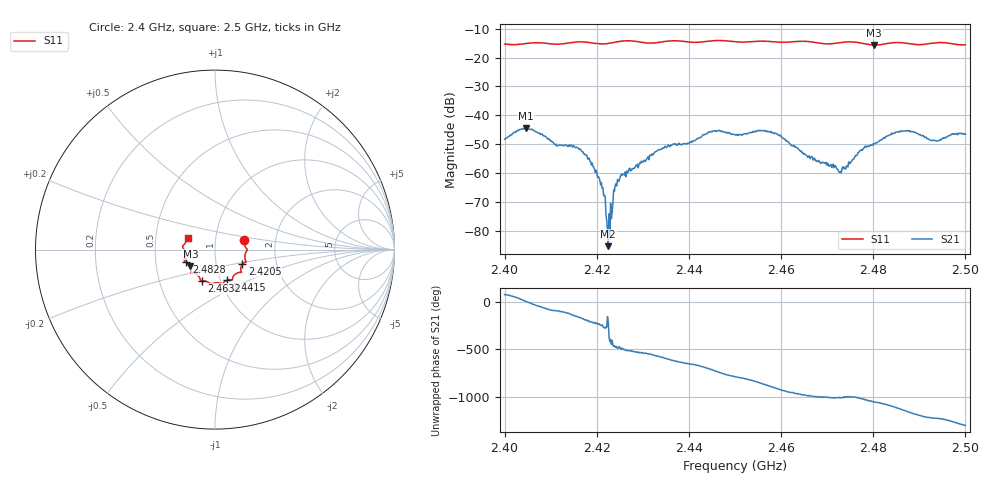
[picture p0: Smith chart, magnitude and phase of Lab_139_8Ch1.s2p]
# Hz S RI R 50
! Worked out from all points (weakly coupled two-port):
!   601 points, 2.4 GHz to 2.5 GHz, reference 50 ohm
!   highest |S21| = -44.46 dB at 2.4047 GHz (marker M1); lowest = -85.2 dB at 2.4225 GHz (marker M2)
!   lowest |S11| = -15.7 dB at 2.4802 GHz (marker M3), VSWR 1.39, Z = 37.4 - j6.97 ohm
!   |S11| at or under -10 dB: start of sweep to end of sweep
!   S12 and S22 are empty: the file has one direction only
!   S11 on the Smith chart (normalised r, x): 2.4 GHz: 1.38, +0.15; 2.4205 GHz: 1.34, -0.22; 2.4415 GHz: 1.07, -0.38; 2.4632 GHz: 0.82, -0.29; 2.4828 GHz: 0.72, -0.10; 2.5 GHz: 0.73, +0.10
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2.4e9  0.1632 0.0516  0.000598 0.00383  0 0  0 0
2.404667e9  0.1745 0.00622  0.00593 0.000805  0 0  0 0
2.416667e9  0.173 -0.0697  -0.00242 -0.000477  0 0  0 0
2.4205e9  0.152 -0.0815  -0.000578 0.000609  0 0  0 0
2.4225e9  0.1435 -0.1  -4.63e-05 2.94e-05  0 0  0 0
2.422833e9  0.1431 -0.1037  4.57e-05 -6.85e-05  0 0  0 0
2.424167e9  0.1444 -0.116  -0.000199 -0.000627  0 0  0 0
2.425e9  0.1464 -0.1217  -0.000501 -0.000658  0 0  0 0
2.433333e9  0.1006 -0.1516  -0.00216 0.00128  0 0  0 0
2.4415e9  0.0655 -0.1706  0.00214 0.00311  0 0  0 0
2.445333e9  0.0426 -0.1908  0.00536 0.00011  0 0  0 0
2.45e9  0.0243 -0.186  0.00177 -0.00431  0 0  0 0
2.457333e9  -0.0274 -0.1879  -0.005 -0.00135  0 0  0 0
2.463167e9  -0.0731 -0.174  -0.00122 0.00258  0 0  0 0
2.466667e9  -0.0818 -0.1671  0.000105 0.00194  0 0  0 0
2.472667e9  -0.124 -0.1304  0.000285 0.000987  0 0  0 0
2.480167e9  -0.1367 -0.0906  0.00287 0.00138  0 0  0 0
2.482833e9  -0.1588 -0.0701  0.0043 -0.000221  0 0  0 0
2.483333e9  -0.1625 -0.0683  0.00442 -0.000768  0 0  0 0
2.4875e9  -0.1673 -0.0513  0.00113 -0.00533  0 0  0 0
2.494e9  -0.1806 0.0149  -0.00311 -0.00186  0 0  0 0
2.5e9  -0.1527 0.0646  -0.0034 0.00325  0 0  0 0
